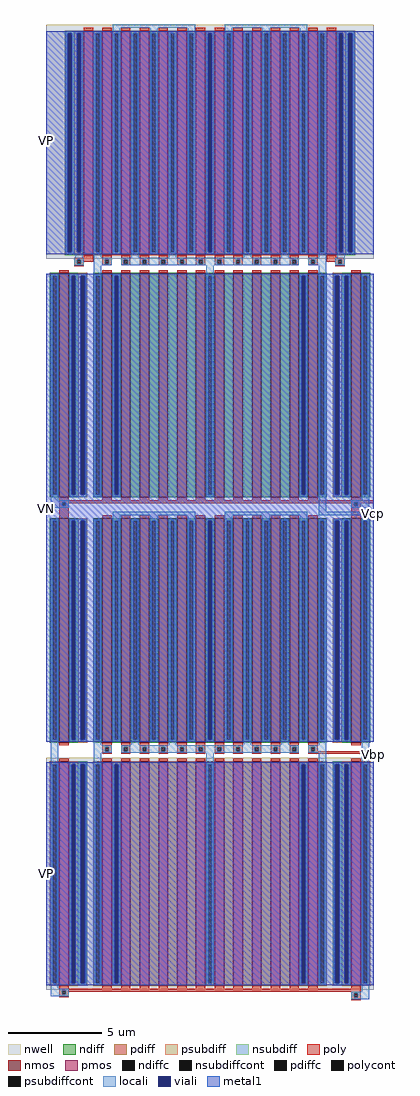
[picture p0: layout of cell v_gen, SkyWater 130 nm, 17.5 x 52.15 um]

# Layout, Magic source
magic
tech sky130A
<< nwell >>
rect -270 1420 1480 2670
rect -270 -2485 1480 -1245
<< nmos >>
rect -200 145 -150 1345
rect 30 145 80 1345
rect 130 145 180 1345
rect 230 145 280 1345
rect 330 145 380 1345
rect 430 145 480 1345
rect 530 145 580 1345
rect 630 145 680 1345
rect 730 145 780 1345
rect 830 145 880 1345
rect 930 145 980 1345
rect 1030 145 1080 1345
rect 1130 145 1180 1345
rect 1360 145 1410 1345
rect -200 -1165 -150 35
rect 30 -1165 80 35
rect 130 -1165 180 35
rect 230 -1165 280 35
rect 330 -1165 380 35
rect 430 -1165 480 35
rect 530 -1165 580 35
rect 630 -1165 680 35
rect 730 -1165 780 35
rect 830 -1165 880 35
rect 930 -1165 980 35
rect 1030 -1165 1080 35
rect 1130 -1165 1180 35
rect 1360 -1165 1410 35
<< pmos >>
rect -70 1440 -20 2640
rect 30 1440 80 2640
rect 130 1440 180 2640
rect 230 1440 280 2640
rect 330 1440 380 2640
rect 430 1440 480 2640
rect 530 1440 580 2640
rect 630 1440 680 2640
rect 730 1440 780 2640
rect 830 1440 880 2640
rect 930 1440 980 2640
rect 1030 1440 1080 2640
rect 1130 1440 1180 2640
rect 1230 1440 1280 2640
rect -200 -2465 -150 -1265
rect 30 -2465 80 -1265
rect 130 -2465 180 -1265
rect 230 -2465 280 -1265
rect 330 -2465 380 -1265
rect 430 -2465 480 -1265
rect 530 -2465 580 -1265
rect 630 -2465 680 -1265
rect 730 -2465 780 -1265
rect 830 -2465 880 -1265
rect 930 -2465 980 -1265
rect 1030 -2465 1080 -1265
rect 1130 -2465 1180 -1265
rect 1360 -2465 1410 -1265
<< ndiff >>
rect -250 1330 -200 1345
rect -250 160 -235 1330
rect -215 160 -200 1330
rect -250 145 -200 160
rect -150 1330 -100 1345
rect -150 160 -135 1330
rect -115 160 -100 1330
rect -150 145 -100 160
rect -20 1330 30 1345
rect -20 160 -5 1330
rect 15 160 30 1330
rect -20 145 30 160
rect 80 1330 130 1345
rect 80 160 95 1330
rect 115 160 130 1330
rect 80 145 130 160
rect 180 145 230 1345
rect 280 145 330 1345
rect 380 145 430 1345
rect 480 145 530 1345
rect 580 1330 630 1345
rect 580 160 595 1330
rect 615 160 630 1330
rect 580 145 630 160
rect 680 145 730 1345
rect 780 145 830 1345
rect 880 145 930 1345
rect 980 145 1030 1345
rect 1080 1330 1130 1345
rect 1080 160 1095 1330
rect 1115 160 1130 1330
rect 1080 145 1130 160
rect 1180 1330 1230 1345
rect 1180 160 1195 1330
rect 1215 160 1230 1330
rect 1180 145 1230 160
rect 1310 1330 1360 1345
rect 1310 160 1325 1330
rect 1345 160 1360 1330
rect 1310 145 1360 160
rect 1410 1330 1460 1345
rect 1410 160 1425 1330
rect 1445 160 1460 1330
rect 1410 145 1460 160
rect -250 20 -200 35
rect -250 -1150 -235 20
rect -215 -1150 -200 20
rect -250 -1165 -200 -1150
rect -150 20 -100 35
rect -150 -1150 -135 20
rect -115 -1150 -100 20
rect -150 -1165 -100 -1150
rect -20 20 30 35
rect -20 -1150 -5 20
rect 15 -1150 30 20
rect -20 -1165 30 -1150
rect 80 20 130 35
rect 80 -1150 95 20
rect 115 -1150 130 20
rect 80 -1165 130 -1150
rect 180 20 230 35
rect 180 -1150 195 20
rect 215 -1150 230 20
rect 180 -1165 230 -1150
rect 280 20 330 35
rect 280 -1150 295 20
rect 315 -1150 330 20
rect 280 -1165 330 -1150
rect 380 20 430 35
rect 380 -1150 395 20
rect 415 -1150 430 20
rect 380 -1165 430 -1150
rect 480 20 530 35
rect 480 -1150 495 20
rect 515 -1150 530 20
rect 480 -1165 530 -1150
rect 580 20 630 35
rect 580 -1150 595 20
rect 615 -1150 630 20
rect 580 -1165 630 -1150
rect 680 20 730 35
rect 680 -1150 695 20
rect 715 -1150 730 20
rect 680 -1165 730 -1150
rect 780 20 830 35
rect 780 -1150 795 20
rect 815 -1150 830 20
rect 780 -1165 830 -1150
rect 880 20 930 35
rect 880 -1150 895 20
rect 915 -1150 930 20
rect 880 -1165 930 -1150
rect 980 20 1030 35
rect 980 -1150 995 20
rect 1015 -1150 1030 20
rect 980 -1165 1030 -1150
rect 1080 20 1130 35
rect 1080 -1150 1095 20
rect 1115 -1150 1130 20
rect 1080 -1165 1130 -1150
rect 1180 20 1230 35
rect 1180 -1150 1195 20
rect 1215 -1150 1230 20
rect 1180 -1165 1230 -1150
rect 1310 20 1360 35
rect 1310 -1150 1325 20
rect 1345 -1150 1360 20
rect 1310 -1165 1360 -1150
rect 1410 20 1460 35
rect 1410 -1150 1425 20
rect 1445 -1150 1460 20
rect 1410 -1165 1460 -1150
<< pdiff >>
rect -120 2625 -70 2640
rect -120 1455 -105 2625
rect -85 1455 -70 2625
rect -120 1440 -70 1455
rect -20 2625 30 2640
rect -20 1455 -5 2625
rect 15 1455 30 2625
rect -20 1440 30 1455
rect 80 2625 130 2640
rect 80 1455 95 2625
rect 115 1455 130 2625
rect 80 1440 130 1455
rect 180 2625 230 2640
rect 180 1455 195 2625
rect 215 1455 230 2625
rect 180 1440 230 1455
rect 280 2625 330 2640
rect 280 1455 295 2625
rect 315 1455 330 2625
rect 280 1440 330 1455
rect 380 2625 430 2640
rect 380 1455 395 2625
rect 415 1455 430 2625
rect 380 1440 430 1455
rect 480 2625 530 2640
rect 480 1455 495 2625
rect 515 1455 530 2625
rect 480 1440 530 1455
rect 580 2625 630 2640
rect 580 1455 595 2625
rect 615 1455 630 2625
rect 580 1440 630 1455
rect 680 2625 730 2640
rect 680 1455 695 2625
rect 715 1455 730 2625
rect 680 1440 730 1455
rect 780 2625 830 2640
rect 780 1455 795 2625
rect 815 1455 830 2625
rect 780 1440 830 1455
rect 880 2625 930 2640
rect 880 1455 895 2625
rect 915 1455 930 2625
rect 880 1440 930 1455
rect 980 2625 1030 2640
rect 980 1455 995 2625
rect 1015 1455 1030 2625
rect 980 1440 1030 1455
rect 1080 2625 1130 2640
rect 1080 1455 1095 2625
rect 1115 1455 1130 2625
rect 1080 1440 1130 1455
rect 1180 2625 1230 2640
rect 1180 1455 1195 2625
rect 1215 1455 1230 2625
rect 1180 1440 1230 1455
rect 1280 2625 1330 2640
rect 1280 1455 1295 2625
rect 1315 1455 1330 2625
rect 1280 1440 1330 1455
rect -250 -1280 -200 -1265
rect -250 -2450 -235 -1280
rect -215 -2450 -200 -1280
rect -250 -2465 -200 -2450
rect -150 -1280 -100 -1265
rect -150 -2450 -135 -1280
rect -115 -2450 -100 -1280
rect -150 -2465 -100 -2450
rect -20 -1280 30 -1265
rect -20 -2450 -5 -1280
rect 15 -2450 30 -1280
rect -20 -2465 30 -2450
rect 80 -1280 130 -1265
rect 80 -2450 95 -1280
rect 115 -2450 130 -1280
rect 80 -2465 130 -2450
rect 180 -2465 230 -1265
rect 280 -2465 330 -1265
rect 380 -2465 430 -1265
rect 480 -2465 530 -1265
rect 580 -1280 630 -1265
rect 580 -2450 595 -1280
rect 615 -2450 630 -1280
rect 580 -2465 630 -2450
rect 680 -2465 730 -1265
rect 780 -2465 830 -1265
rect 880 -2465 930 -1265
rect 980 -2465 1030 -1265
rect 1080 -1280 1130 -1265
rect 1080 -2450 1095 -1280
rect 1115 -2450 1130 -1280
rect 1080 -2465 1130 -2450
rect 1180 -1280 1230 -1265
rect 1180 -2450 1195 -1280
rect 1215 -2450 1230 -1280
rect 1180 -2465 1230 -2450
rect 1310 -1280 1360 -1265
rect 1310 -2450 1325 -1280
rect 1345 -2450 1360 -1280
rect 1310 -2465 1360 -2450
rect 1410 -1280 1460 -1265
rect 1410 -2450 1425 -1280
rect 1445 -2450 1460 -1280
rect 1410 -2465 1460 -2450
<< ndiffc >>
rect -235 160 -215 1330
rect -135 160 -115 1330
rect -5 160 15 1330
rect 95 160 115 1330
rect 595 160 615 1330
rect 1095 160 1115 1330
rect 1195 160 1215 1330
rect 1325 160 1345 1330
rect 1425 160 1445 1330
rect -235 -1150 -215 20
rect -135 -1150 -115 20
rect -5 -1150 15 20
rect 95 -1150 115 20
rect 195 -1150 215 20
rect 295 -1150 315 20
rect 395 -1150 415 20
rect 495 -1150 515 20
rect 595 -1150 615 20
rect 695 -1150 715 20
rect 795 -1150 815 20
rect 895 -1150 915 20
rect 995 -1150 1015 20
rect 1095 -1150 1115 20
rect 1195 -1150 1215 20
rect 1325 -1150 1345 20
rect 1425 -1150 1445 20
<< pdiffc >>
rect -105 1455 -85 2625
rect -5 1455 15 2625
rect 95 1455 115 2625
rect 195 1455 215 2625
rect 295 1455 315 2625
rect 395 1455 415 2625
rect 495 1455 515 2625
rect 595 1455 615 2625
rect 695 1455 715 2625
rect 795 1455 815 2625
rect 895 1455 915 2625
rect 995 1455 1015 2625
rect 1095 1455 1115 2625
rect 1195 1455 1215 2625
rect 1295 1455 1315 2625
rect -235 -2450 -215 -1280
rect -135 -2450 -115 -1280
rect -5 -2450 15 -1280
rect 95 -2450 115 -1280
rect 595 -2450 615 -1280
rect 1095 -2450 1115 -1280
rect 1195 -2450 1215 -1280
rect 1325 -2450 1345 -1280
rect 1425 -2450 1445 -1280
<< psubdiff >>
rect -100 1330 -50 1345
rect -100 160 -85 1330
rect -65 160 -50 1330
rect -100 145 -50 160
rect 1260 1330 1310 1345
rect 1260 160 1275 1330
rect 1295 160 1310 1330
rect 1260 145 1310 160
rect -100 20 -50 35
rect -100 -1150 -85 20
rect -65 -1150 -50 20
rect -100 -1165 -50 -1150
rect 1260 20 1310 35
rect 1260 -1150 1275 20
rect 1295 -1150 1310 20
rect 1260 -1165 1310 -1150
<< nsubdiff >>
rect -170 2625 -120 2640
rect -170 1455 -155 2625
rect -135 1455 -120 2625
rect -170 1440 -120 1455
rect 1330 2625 1380 2640
rect 1330 1455 1345 2625
rect 1365 1455 1380 2625
rect 1330 1440 1380 1455
rect -100 -1280 -50 -1265
rect -100 -2450 -85 -1280
rect -65 -2450 -50 -1280
rect -100 -2465 -50 -2450
rect 1260 -1280 1310 -1265
rect 1260 -2450 1275 -1280
rect 1295 -2450 1310 -1280
rect 1260 -2465 1310 -2450
<< psubdiffcont >>
rect -85 160 -65 1330
rect 1275 160 1295 1330
rect -85 -1150 -65 20
rect 1275 -1150 1295 20
<< nsubdiffcont >>
rect -155 1455 -135 2625
rect 1345 1455 1365 2625
rect -85 -2450 -65 -1280
rect 1275 -2450 1295 -1280
<< poly >>
rect -70 2640 -20 2655
rect 30 2640 80 2655
rect 130 2640 180 2655
rect 230 2640 280 2655
rect 330 2640 380 2655
rect 430 2640 480 2655
rect 530 2640 580 2655
rect 630 2640 680 2655
rect 730 2640 780 2655
rect 830 2640 880 2655
rect 930 2640 980 2655
rect 1030 2640 1080 2655
rect 1130 2640 1180 2655
rect 1230 2640 1280 2655
rect -70 1425 -20 1440
rect -120 1415 -20 1425
rect -120 1395 -105 1415
rect -85 1405 -20 1415
rect 30 1415 80 1440
rect -85 1395 -70 1405
rect -120 1380 -70 1395
rect 30 1395 45 1415
rect 65 1395 80 1415
rect 30 1385 80 1395
rect 130 1415 180 1440
rect 130 1395 145 1415
rect 165 1395 180 1415
rect 130 1385 180 1395
rect 230 1415 280 1440
rect 230 1395 245 1415
rect 265 1395 280 1415
rect 230 1385 280 1395
rect 330 1415 380 1440
rect 330 1395 345 1415
rect 365 1395 380 1415
rect 330 1385 380 1395
rect 430 1415 480 1440
rect 430 1395 445 1415
rect 465 1395 480 1415
rect 430 1385 480 1395
rect 530 1415 580 1440
rect 530 1395 545 1415
rect 565 1395 580 1415
rect 530 1385 580 1395
rect 630 1415 680 1440
rect 630 1395 645 1415
rect 665 1395 680 1415
rect 630 1385 680 1395
rect 730 1415 780 1440
rect 730 1395 745 1415
rect 765 1395 780 1415
rect 730 1385 780 1395
rect 830 1415 880 1440
rect 830 1395 845 1415
rect 865 1395 880 1415
rect 830 1385 880 1395
rect 930 1415 980 1440
rect 930 1395 945 1415
rect 965 1395 980 1415
rect 930 1385 980 1395
rect 1030 1415 1080 1440
rect 1030 1395 1045 1415
rect 1065 1395 1080 1415
rect 1030 1385 1080 1395
rect 1130 1415 1180 1440
rect 1130 1395 1145 1415
rect 1165 1395 1180 1415
rect 1230 1425 1280 1440
rect 1230 1415 1325 1425
rect 1230 1405 1290 1415
rect 1130 1385 1180 1395
rect 1275 1395 1290 1405
rect 1310 1395 1325 1415
rect 1275 1380 1325 1395
rect -200 1345 -150 1360
rect 30 1345 80 1360
rect 130 1345 180 1360
rect 230 1345 280 1360
rect 330 1345 380 1360
rect 430 1345 480 1360
rect 530 1345 580 1360
rect 630 1345 680 1360
rect 730 1345 780 1360
rect 830 1345 880 1360
rect 930 1345 980 1360
rect 1030 1345 1080 1360
rect 1130 1345 1180 1360
rect 1360 1345 1410 1360
rect -200 130 -150 145
rect 30 130 80 145
rect 130 130 180 145
rect 230 130 280 145
rect 330 130 380 145
rect 430 130 480 145
rect 530 130 580 145
rect 630 130 680 145
rect 730 130 780 145
rect 830 130 880 145
rect 930 130 980 145
rect 1030 130 1080 145
rect 1130 130 1180 145
rect 1360 130 1410 145
rect -200 120 1480 130
rect -200 100 -185 120
rect -165 115 1375 120
rect -165 100 -150 115
rect -200 35 -150 100
rect 1360 100 1375 115
rect 1395 115 1480 120
rect 1395 100 1410 115
rect 30 35 80 50
rect 130 35 180 50
rect 230 35 280 50
rect 330 35 380 50
rect 430 35 480 50
rect 530 35 580 50
rect 630 35 680 50
rect 730 35 780 50
rect 830 35 880 50
rect 930 35 980 50
rect 1030 35 1080 50
rect 1130 35 1180 50
rect 1360 35 1410 100
rect -200 -1180 -150 -1165
rect 30 -1190 80 -1165
rect 30 -1210 45 -1190
rect 65 -1210 80 -1190
rect 30 -1225 80 -1210
rect 130 -1190 180 -1165
rect 130 -1210 145 -1190
rect 165 -1210 180 -1190
rect 130 -1225 180 -1210
rect 230 -1190 280 -1165
rect 230 -1210 245 -1190
rect 265 -1210 280 -1190
rect 230 -1225 280 -1210
rect 330 -1190 380 -1165
rect 330 -1210 345 -1190
rect 365 -1210 380 -1190
rect 330 -1225 380 -1210
rect 430 -1190 480 -1165
rect 430 -1210 445 -1190
rect 465 -1210 480 -1190
rect 430 -1225 480 -1210
rect 530 -1190 580 -1165
rect 530 -1210 545 -1190
rect 565 -1210 580 -1190
rect 530 -1225 580 -1210
rect 630 -1190 680 -1165
rect 630 -1210 645 -1190
rect 665 -1210 680 -1190
rect 630 -1225 680 -1210
rect 730 -1190 780 -1165
rect 730 -1210 745 -1190
rect 765 -1210 780 -1190
rect 730 -1225 780 -1210
rect 830 -1190 880 -1165
rect 830 -1210 845 -1190
rect 865 -1210 880 -1190
rect 830 -1225 880 -1210
rect 930 -1190 980 -1165
rect 930 -1210 945 -1190
rect 965 -1210 980 -1190
rect 930 -1225 980 -1210
rect 1030 -1190 1080 -1165
rect 1030 -1210 1045 -1190
rect 1065 -1210 1080 -1190
rect 1030 -1225 1080 -1210
rect 1130 -1190 1180 -1165
rect 1360 -1180 1410 -1165
rect 1130 -1210 1145 -1190
rect 1165 -1210 1180 -1190
rect 1130 -1225 1480 -1210
rect -200 -1265 -150 -1250
rect 30 -1265 80 -1250
rect 130 -1265 180 -1250
rect 230 -1265 280 -1250
rect 330 -1265 380 -1250
rect 430 -1265 480 -1250
rect 530 -1265 580 -1250
rect 630 -1265 680 -1250
rect 730 -1265 780 -1250
rect 830 -1265 880 -1250
rect 930 -1265 980 -1250
rect 1030 -1265 1080 -1250
rect 1130 -1265 1180 -1250
rect 1360 -1265 1410 -1250
rect -200 -2480 -150 -2465
rect 30 -2480 80 -2465
rect 130 -2480 180 -2465
rect 230 -2480 280 -2465
rect 330 -2480 380 -2465
rect 430 -2480 480 -2465
rect 530 -2480 580 -2465
rect 630 -2480 680 -2465
rect 730 -2480 780 -2465
rect 830 -2480 880 -2465
rect 930 -2480 980 -2465
rect 1030 -2480 1080 -2465
rect 1130 -2480 1180 -2465
rect 1360 -2480 1410 -2465
rect -200 -2490 1410 -2480
rect -200 -2510 -185 -2490
rect -165 -2495 1410 -2490
rect -165 -2510 -150 -2495
rect -200 -2525 -150 -2510
rect 1360 -2505 1410 -2495
rect 1360 -2525 1375 -2505
rect 1395 -2525 1410 -2505
rect 1360 -2540 1410 -2525
<< polycont >>
rect -105 1395 -85 1415
rect 45 1395 65 1415
rect 145 1395 165 1415
rect 245 1395 265 1415
rect 345 1395 365 1415
rect 445 1395 465 1415
rect 545 1395 565 1415
rect 645 1395 665 1415
rect 745 1395 765 1415
rect 845 1395 865 1415
rect 945 1395 965 1415
rect 1045 1395 1065 1415
rect 1145 1395 1165 1415
rect 1290 1395 1310 1415
rect -185 100 -165 120
rect 1375 100 1395 120
rect 45 -1210 65 -1190
rect 145 -1210 165 -1190
rect 245 -1210 265 -1190
rect 345 -1210 365 -1190
rect 445 -1210 465 -1190
rect 545 -1210 565 -1190
rect 645 -1210 665 -1190
rect 745 -1210 765 -1190
rect 845 -1210 865 -1190
rect 945 -1210 965 -1190
rect 1045 -1210 1065 -1190
rect 1145 -1210 1165 -1190
rect -185 -2510 -165 -2490
rect 1375 -2525 1395 -2505
<< locali >>
rect 85 2655 525 2675
rect -165 2625 -75 2635
rect -165 1455 -155 2625
rect -135 1455 -105 2625
rect -85 1455 -75 2625
rect -165 1445 -75 1455
rect -115 1425 -75 1445
rect -15 2625 25 2635
rect -15 1455 -5 2625
rect 15 1455 25 2625
rect -15 1425 25 1455
rect 85 2625 125 2655
rect 85 1455 95 2625
rect 115 1455 125 2625
rect 85 1445 125 1455
rect 185 2625 225 2635
rect 185 1455 195 2625
rect 215 1455 225 2625
rect 185 1425 225 1455
rect 285 2625 325 2655
rect 285 1455 295 2625
rect 315 1455 325 2625
rect 285 1445 325 1455
rect 385 2625 425 2635
rect 385 1455 395 2625
rect 415 1455 425 2625
rect 385 1425 425 1455
rect 485 2625 525 2655
rect 685 2655 1125 2675
rect 485 1455 495 2625
rect 515 1455 525 2625
rect 485 1445 525 1455
rect 585 2625 625 2635
rect 585 1455 595 2625
rect 615 1455 625 2625
rect 585 1445 625 1455
rect 685 2625 725 2655
rect 685 1455 695 2625
rect 715 1455 725 2625
rect 685 1445 725 1455
rect 785 2625 825 2635
rect 785 1455 795 2625
rect 815 1455 825 2625
rect 785 1425 825 1455
rect 885 2625 925 2655
rect 885 1455 895 2625
rect 915 1455 925 2625
rect 885 1445 925 1455
rect 985 2625 1025 2635
rect 985 1455 995 2625
rect 1015 1455 1025 2625
rect 985 1425 1025 1455
rect 1085 2625 1125 2655
rect 1085 1455 1095 2625
rect 1115 1455 1125 2625
rect 1085 1445 1125 1455
rect 1185 2625 1225 2635
rect 1185 1455 1195 2625
rect 1215 1455 1225 2625
rect 1185 1425 1225 1455
rect 1285 2625 1375 2635
rect 1285 1455 1295 2625
rect 1315 1455 1345 2625
rect 1365 1455 1375 2625
rect 1285 1445 1375 1455
rect 1285 1425 1325 1445
rect -120 1415 -70 1425
rect -120 1395 -105 1415
rect -85 1395 -70 1415
rect -120 1385 -70 1395
rect -15 1415 80 1425
rect -15 1395 45 1415
rect 65 1395 80 1415
rect -15 1385 80 1395
rect 130 1415 1080 1425
rect 130 1395 145 1415
rect 165 1395 245 1415
rect 265 1395 345 1415
rect 365 1395 445 1415
rect 465 1395 545 1415
rect 565 1395 645 1415
rect 665 1395 745 1415
rect 765 1395 845 1415
rect 865 1395 945 1415
rect 965 1395 1045 1415
rect 1065 1395 1080 1415
rect 130 1385 1080 1395
rect 1130 1415 1225 1425
rect 1130 1395 1145 1415
rect 1165 1395 1225 1415
rect 1130 1385 1225 1395
rect 1275 1415 1325 1425
rect 1275 1395 1290 1415
rect 1310 1395 1325 1415
rect 1275 1385 1325 1395
rect -245 1330 -205 1340
rect -245 160 -235 1330
rect -215 160 -205 1330
rect -245 130 -205 160
rect -145 1330 -55 1340
rect -145 160 -135 1330
rect -115 160 -85 1330
rect -65 160 -55 1330
rect -145 150 -55 160
rect -15 1330 25 1385
rect -15 160 -5 1330
rect 15 160 25 1330
rect -15 150 25 160
rect 85 1330 125 1340
rect 85 160 95 1330
rect 115 160 125 1330
rect 85 150 125 160
rect 585 1330 625 1385
rect 585 160 595 1330
rect 615 160 625 1330
rect 585 150 625 160
rect 1085 1330 1125 1340
rect 1085 160 1095 1330
rect 1115 160 1125 1330
rect 1085 150 1125 160
rect 1185 1330 1225 1385
rect 1185 160 1195 1330
rect 1215 160 1225 1330
rect -245 120 -150 130
rect -245 100 -185 120
rect -165 100 -150 120
rect -245 90 -150 100
rect 1185 70 1225 160
rect 1265 1330 1355 1340
rect 1265 160 1275 1330
rect 1295 160 1325 1330
rect 1345 160 1355 1330
rect 1265 150 1355 160
rect 1415 1330 1455 1340
rect 1415 160 1425 1330
rect 1445 160 1455 1330
rect 1415 130 1455 160
rect 1360 120 1455 130
rect 1360 100 1375 120
rect 1395 100 1455 120
rect 1360 90 1455 100
rect 85 50 525 70
rect -245 20 -205 30
rect -245 -1150 -235 20
rect -215 -1150 -205 20
rect -245 -1280 -205 -1150
rect -145 20 -55 30
rect -145 -1150 -135 20
rect -115 -1150 -85 20
rect -65 -1150 -55 20
rect -145 -1160 -55 -1150
rect -15 20 25 30
rect -15 -1150 -5 20
rect 15 -1150 25 20
rect -15 -1180 25 -1150
rect 85 20 125 50
rect 85 -1150 95 20
rect 115 -1150 125 20
rect 85 -1160 125 -1150
rect 185 20 225 30
rect 185 -1150 195 20
rect 215 -1150 225 20
rect 185 -1180 225 -1150
rect 285 20 325 50
rect 285 -1150 295 20
rect 315 -1150 325 20
rect 285 -1160 325 -1150
rect 385 20 425 30
rect 385 -1150 395 20
rect 415 -1150 425 20
rect 385 -1180 425 -1150
rect 485 20 525 50
rect 685 50 1125 70
rect 1185 50 1480 70
rect 485 -1150 495 20
rect 515 -1150 525 20
rect 485 -1160 525 -1150
rect 585 20 625 30
rect 585 -1150 595 20
rect 615 -1150 625 20
rect 585 -1160 625 -1150
rect 685 20 725 50
rect 685 -1150 695 20
rect 715 -1150 725 20
rect 685 -1160 725 -1150
rect 785 20 825 30
rect 785 -1150 795 20
rect 815 -1150 825 20
rect 785 -1180 825 -1150
rect 885 20 925 50
rect 885 -1150 895 20
rect 915 -1150 925 20
rect 885 -1160 925 -1150
rect 985 20 1025 30
rect 985 -1150 995 20
rect 1015 -1150 1025 20
rect 985 -1180 1025 -1150
rect 1085 20 1125 50
rect 1085 -1150 1095 20
rect 1115 -1150 1125 20
rect 1085 -1160 1125 -1150
rect 1185 20 1225 30
rect 1185 -1150 1195 20
rect 1215 -1150 1225 20
rect 1185 -1180 1225 -1150
rect 1265 20 1355 30
rect 1265 -1150 1275 20
rect 1295 -1150 1325 20
rect 1345 -1150 1355 20
rect 1265 -1160 1355 -1150
rect 1415 20 1455 30
rect 1415 -1150 1425 20
rect 1445 -1150 1455 20
rect -15 -1190 80 -1180
rect -15 -1210 45 -1190
rect 65 -1210 80 -1190
rect -15 -1220 80 -1210
rect 130 -1190 1080 -1180
rect 130 -1210 145 -1190
rect 165 -1210 245 -1190
rect 265 -1210 345 -1190
rect 365 -1210 445 -1190
rect 465 -1210 545 -1190
rect 565 -1210 645 -1190
rect 665 -1210 745 -1190
rect 765 -1210 845 -1190
rect 865 -1210 945 -1190
rect 965 -1210 1045 -1190
rect 1065 -1210 1080 -1190
rect 130 -1220 1080 -1210
rect 1130 -1190 1225 -1180
rect 1130 -1210 1145 -1190
rect 1165 -1210 1225 -1190
rect 1130 -1220 1225 -1210
rect -245 -2450 -235 -1280
rect -215 -2450 -205 -1280
rect -245 -2480 -205 -2450
rect -145 -1280 -55 -1270
rect -145 -2450 -135 -1280
rect -115 -2450 -85 -1280
rect -65 -2450 -55 -1280
rect -145 -2460 -55 -2450
rect -15 -1280 25 -1220
rect -15 -2450 -5 -1280
rect 15 -2450 25 -1280
rect -15 -2460 25 -2450
rect 85 -1280 125 -1270
rect 85 -2450 95 -1280
rect 115 -2450 125 -1280
rect 85 -2460 125 -2450
rect 585 -1280 625 -1220
rect 585 -2450 595 -1280
rect 615 -2450 625 -1280
rect 585 -2460 625 -2450
rect 1085 -1280 1125 -1270
rect 1085 -2450 1095 -1280
rect 1115 -2450 1125 -1280
rect 1085 -2460 1125 -2450
rect 1185 -1280 1225 -1220
rect 1415 -1220 1455 -1150
rect 1415 -1240 1480 -1220
rect 1185 -2450 1195 -1280
rect 1215 -2450 1225 -1280
rect 1185 -2460 1225 -2450
rect 1265 -1280 1355 -1270
rect 1265 -2450 1275 -1280
rect 1295 -2450 1325 -1280
rect 1345 -2450 1355 -1280
rect 1265 -2460 1355 -2450
rect 1415 -1280 1455 -1240
rect 1415 -2450 1425 -1280
rect 1445 -2450 1455 -1280
rect -245 -2490 -150 -2480
rect -245 -2510 -185 -2490
rect -165 -2510 -150 -2490
rect 1415 -2495 1455 -2450
rect -245 -2520 -150 -2510
rect 1360 -2505 1455 -2495
rect 1360 -2525 1375 -2505
rect 1395 -2525 1455 -2505
rect 1360 -2535 1455 -2525
<< viali >>
rect -155 1455 -135 2625
rect -105 1455 -85 2625
rect 595 1455 615 2625
rect 1295 1455 1315 2625
rect 1345 1455 1365 2625
rect -135 160 -115 1330
rect -85 160 -65 1330
rect 95 160 115 1330
rect 1095 160 1115 1330
rect 1275 160 1295 1330
rect 1325 160 1345 1330
rect -135 -1150 -115 20
rect -85 -1150 -65 20
rect 595 -1150 615 20
rect 1275 -1150 1295 20
rect 1325 -1150 1345 20
rect -135 -2450 -115 -1280
rect -85 -2450 -65 -1280
rect 95 -2450 115 -1280
rect 1095 -2450 1115 -1280
rect 1275 -2450 1295 -1280
rect 1325 -2450 1345 -1280
<< metal1 >>
rect -270 2625 1480 2635
rect -270 1455 -155 2625
rect -135 1455 -105 2625
rect -85 1455 595 2625
rect 615 1455 1295 2625
rect 1315 1455 1345 2625
rect 1365 1455 1480 2625
rect -270 1445 1480 1455
rect -270 1330 1480 1340
rect -270 160 -135 1330
rect -115 160 -85 1330
rect -65 160 95 1330
rect 115 160 1095 1330
rect 1115 160 1275 1330
rect 1295 160 1325 1330
rect 1345 160 1480 1330
rect -270 20 1480 160
rect -270 -1150 -135 20
rect -115 -1150 -85 20
rect -65 -1150 595 20
rect 615 -1150 1275 20
rect 1295 -1150 1325 20
rect 1345 -1150 1480 20
rect -270 -1160 1480 -1150
rect -270 -1280 1480 -1270
rect -270 -2450 -135 -1280
rect -115 -2450 -85 -1280
rect -65 -2450 95 -1280
rect 115 -2450 1095 -1280
rect 1115 -2450 1275 -1280
rect 1295 -2450 1325 -1280
rect 1345 -2450 1480 -1280
rect -270 -2460 1480 -2450
<< labels >>
rlabel metal1 -270 2050 -270 2050 7 VP
port 6 w
rlabel locali 1480 60 1480 60 3 Vcp
port 3 e
rlabel poly 1480 125 1480 125 3 Vbn
port 2 e
rlabel metal1 -270 -1865 -270 -1865 7 VP
port 9 w
rlabel locali 1480 -1230 1480 -1230 3 Vbp
port 5 e
rlabel poly 1480 -1215 1480 -1215 3 Vcn
port 10 e
rlabel metal1 -270 85 -270 85 7 VN
port 7 w
<< end >>
